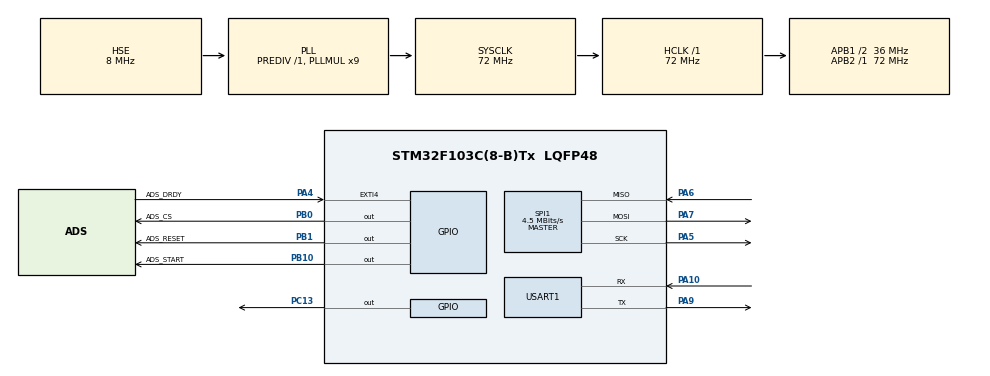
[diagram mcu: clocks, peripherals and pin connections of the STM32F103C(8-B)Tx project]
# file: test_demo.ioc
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Mcu.Family=STM32F1
Mcu.Name=STM32F103C(8-B)Tx
Mcu.Package=LQFP48
NVIC.EXTI4_IRQn=true\:0\:0\:false\:false\:true\:true\:true\:true
NVIC.PriorityGroup=NVIC_PRIORITYGROUP_4
PA10.Mode=Asynchronous
PA10.Signal=USART1_RX
PA13.Mode=Serial_Wire
PA13.Signal=SYS_JTMS-SWDIO
PA14.Mode=Serial_Wire
PA14.Signal=SYS_JTCK-SWCLK
PA4.GPIO_Label=ADS_DRDY
PA4.Signal=GPXTI4
PA5.Mode=Full_Duplex_Master
PA5.Signal=SPI1_SCK
PA6.Mode=Full_Duplex_Master
PA6.Signal=SPI1_MISO
PA7.Mode=Full_Duplex_Master
PA7.Signal=SPI1_MOSI
PA9.Mode=Asynchronous
PA9.Signal=USART1_TX
PB0.GPIO_Label=ADS_CS
PB0.Signal=GPIO_Output
PB1.GPIO_Label=ADS_RESET
PB1.Signal=GPIO_Output
PB10.GPIO_Label=ADS_START
PB10.Signal=GPIO_Output
PC13-TAMPER-RTC.GPIO_PuPd=GPIO_PULLDOWN
PC13-TAMPER-RTC.Signal=GPIO_Output
PD0-OSC_IN.Mode=HSE-External-Oscillator
PD0-OSC_IN.Signal=RCC_OSC_IN
PD1-OSC_OUT.Mode=HSE-External-Oscillator
PD1-OSC_OUT.Signal=RCC_OSC_OUT
ProjectManager.HeapSize=0x200
ProjectManager.StackSize=0x400
ProjectManager.TargetToolchain=MDK-ARM V5.32
RCC.AHBFreq_Value=72000000
RCC.APB1CLKDivider=RCC_HCLK_DIV2
RCC.APB1Freq_Value=36000000
RCC.APB1TimFreq_Value=72000000
RCC.APB2Freq_Value=72000000
RCC.APB2TimFreq_Value=72000000
RCC.HCLKFreq_Value=72000000
RCC.PLLMUL=RCC_PLL_MUL9
RCC.PLLSourceVirtual=RCC_PLLSOURCE_HSE
RCC.SYSCLKFreq_VALUE=72000000
RCC.SYSCLKSource=RCC_SYSCLKSOURCE_PLLCLK
RCC.USBFreq_Value=72000000
SPI1.BaudRatePrescaler=SPI_BAUDRATEPRESCALER_16
SPI1.CLKPhase=SPI_PHASE_2EDGE
SPI1.CalculateBaudRate=4.5 MBits/s
SPI1.Direction=SPI_DIRECTION_2LINES
SPI1.Mode=SPI_MODE_MASTER
SPI1.VirtualType=VM_MASTER
USART1.VirtualMode=VM_ASYNC
board=custom

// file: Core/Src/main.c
/* USER CODE BEGIN Header */
/**
  ******************************************************************************
  * @file           : main.c
  * @brief          : Main program body
  ******************************************************************************
  * @attention
  *
  * Copyright (c) 2026 STMicroelectronics.
  * All rights reserved.
  *
  * This software is licensed under terms that can be found in the LICENSE file
  * in the root directory of this software component.
  * If no LICENSE file comes with this software, it is provided AS-IS.
  *
  ******************************************************************************
  */
/* USER CODE END Header */
#include "main.h"
#include "spi.h"
#include "usart.h"
#include "gpio.h"

/* USER CODE BEGIN Includes */
#include "ads1292r.h"
#include <stdio.h>
/* USER CODE END Includes */

/* USER CODE BEGIN PV */
uint8_t ads1292r_id = 0U;
ADS1292R_Handle ads;
ADS1292R_Frame ads_frame;
uint32_t sample_index = 0U;
uint32_t frame_error_count = 0U;
uint32_t reported_error_count = 0U;
uint32_t last_bad_status = 0U;
uint32_t last_diag_tick = 0U;
uint8_t ads_ready = 0U;
uint8_t ads_drdy_armed = 1U;
char uart_line[64];
/* USER CODE END PV */

void SystemClock_Config(void);

int main(void)
{

  /* MCU Configuration--------------------------------------------------------*/

  /* Reset of all peripherals, Initializes the Flash interface and the Systick. */
  HAL_Init();

  /* Configure the system clock */
  SystemClock_Config();

  /* Initialize all configured peripherals */
  MX_GPIO_Init();
  MX_USART1_UART_Init();
  MX_SPI1_Init();
  /* USER CODE BEGIN 2 */

  /* A reset of the STM32 does not power-cycle the ADS1292R.  Force the
     ADS1292R PWDN/RESET pin through a complete reset sequence so that a
     push-button reset starts from the same state as a power-on reset. */
  HAL_Delay(500);                                      /* wait for battery/USB rails */
  HAL_GPIO_WritePin(GPIOB, GPIO_PIN_10, GPIO_PIN_RESET); /* START low */
  HAL_GPIO_WritePin(GPIOB, GPIO_PIN_0, GPIO_PIN_SET);    /* CS inactive */
  HAL_GPIO_WritePin(GPIOB, GPIO_PIN_1, GPIO_PIN_RESET);  /* PWDN/RESET low */
  HAL_Delay(20);
  HAL_GPIO_WritePin(GPIOB, GPIO_PIN_1, GPIO_PIN_SET);    /* wake/reset ADS */
  HAL_Delay(500);
  uint8_t regs[5] = {0U};
  int n = 0;

  ads_ready = 0U;

  ADS1292R_Attach(
      &ads,
      &hspi1,
      ADS_CS_GPIO_Port, ADS_CS_Pin,
      ADS_RESET_GPIO_Port, ADS_RESET_Pin,
      ADS_START_GPIO_Port, ADS_START_Pin
  );

  if (ADS1292R_Begin(
          &ads,
          ADS1292R_MODE_ECG,
          &ads1292r_id
      ) == HAL_OK)
  {
    n = snprintf(
        uart_line,
        sizeof(uart_line),
        "ADS1292R ID=0x%02X OK\r\n",
        ads1292r_id
    );
    HAL_UART_Transmit(&huart1, (uint8_t *)uart_line, n, 100U);

    if (ADS1292R_ReadRegisters(
            &ads,
            ADS1292R_REG_CONFIG1,
            regs,
            5U
        ) == HAL_OK)
    {
      n = snprintf(
          uart_line,
          sizeof(uart_line),
          "REG=%02X,%02X,%02X,%02X,%02X\r\n",
          regs[0], regs[1], regs[2], regs[3], regs[4]
      );
      HAL_UART_Transmit(&huart1, (uint8_t *)uart_line, n, 100U);

      if ((regs[0] == 0x01U) &&
          (regs[1] == 0xA0U) &&
          (regs[3] == 0x00U) &&
          (regs[4] == 0x00U) &&
          (ADS1292R_Start(&ads) == HAL_OK))
      {
        ads_ready = 1U;
        HAL_UART_Transmit(
            &huart1,
            (uint8_t *)"ADS START OK\r\n",
            14U,
            100U
        );
      }
      else
      {
        HAL_UART_Transmit(
            &huart1,
            (uint8_t *)"ADS CONFIG/START FAILED\r\n",
            25U,
            100U
        );
      }
    }
    else
    {
      HAL_UART_Transmit(
          &huart1,
          (uint8_t *)"ADS REG READ FAILED\r\n",
          21U,
          100U
      );
    }
  }
  else
  {
    n = snprintf(
        uart_line,
        sizeof(uart_line),
        "ADS1292R init failed, ID=0x%02X\r\n",
        ads1292r_id
    );
    HAL_UART_Transmit(&huart1, (uint8_t *)uart_line, n, 100U);
  }

  /* USER CODE END 2 */

  /* Infinite loop */
  /* USER CODE BEGIN WHILE */
  while (1)
  {
    if (ads_ready == 0U)
    {
      HAL_Delay(100U);
    }
    else if (HAL_GPIO_ReadPin(GPIOA, GPIO_PIN_4) == GPIO_PIN_SET)
    {
      /* A new falling edge may be accepted only after DRDY returned high. */
      ads_drdy_armed = 1U;
    }
    else if (ads_drdy_armed != 0U)
    {
      ads_drdy_armed = 0U;

      if (ADS1292R_ReadFrame(&ads, &ads_frame) == HAL_OK)
      {
        if ((ads_frame.status & 0xF00000UL) == 0xC00000UL)
        {
          uint32_t current_sample = sample_index++;

          /* Read every 250-Hz sample, transmit one channel at 125 lines/s. */
          if ((current_sample % 2U) == 0U)
          {
            n = snprintf(
                uart_line,
                sizeof(uart_line),
                "%lu,%ld\r\n",
                (unsigned long)current_sample,
                (long)ads_frame.channel2
            );
            HAL_UART_Transmit(
                &huart1,
                (uint8_t *)uart_line,
                n,
                20U
            );
          }

          if ((current_sample % 125U) == 0U)
          {
            HAL_GPIO_TogglePin(GPIOC, GPIO_PIN_13);
          }
        }
        else
        {
          ++frame_error_count;
          last_bad_status = ads_frame.status;
        }
      }
      else
      {
        ads_ready = 0U;
        HAL_UART_Transmit(
            &huart1,
            (uint8_t *)"ADS SPI READ ERROR\r\n",
            20U,
            100U
        );
      }
    }

    /* Never print a message for every bad frame: that much blocking UART
       traffic can consume a complete 4-ms sample interval.  Report only
       once per second and only when the cumulative count has changed. */
    if ((HAL_GetTick() - last_diag_tick) >= 1000U)
    {
      last_diag_tick = HAL_GetTick();
      if (frame_error_count != reported_error_count)
      {
        reported_error_count = frame_error_count;
        n = snprintf(
            uart_line,
            sizeof(uart_line),
            "ADS ERRORS=%lu LAST=%06lX\r\n",
            (unsigned long)frame_error_count,
            (unsigned long)(last_bad_status & 0xFFFFFFUL)
        );
        HAL_UART_Transmit(
            &huart1,
            (uint8_t *)uart_line,
            n,
            20U
        );
      }
    }
    /* USER CODE END WHILE */

  }

}

void SystemClock_Config(void)
{
  RCC_OscInitTypeDef RCC_OscInitStruct = {0};
  RCC_ClkInitTypeDef RCC_ClkInitStruct = {0};

  /** Initializes the RCC Oscillators according to the specified parameters
  * in the RCC_OscInitTypeDef structure.
  */
  RCC_OscInitStruct.OscillatorType = RCC_OSCILLATORTYPE_HSE;
  RCC_OscInitStruct.HSEState = RCC_HSE_ON;
  RCC_OscInitStruct.HSEPredivValue = RCC_HSE_PREDIV_DIV1;
  RCC_OscInitStruct.HSIState = RCC_HSI_ON;
  RCC_OscInitStruct.PLL.PLLState = RCC_PLL_ON;
  RCC_OscInitStruct.PLL.PLLSource = RCC_PLLSOURCE_HSE;
  RCC_OscInitStruct.PLL.PLLMUL = RCC_PLL_MUL9;
  if (HAL_RCC_OscConfig(&RCC_OscInitStruct) != HAL_OK)
  {
    Error_Handler();
  }

  /** Initializes the CPU, AHB and APB buses clocks
  */
  RCC_ClkInitStruct.ClockType = RCC_CLOCKTYPE_HCLK|RCC_CLOCKTYPE_SYSCLK
                              |RCC_CLOCKTYPE_PCLK1|RCC_CLOCKTYPE_PCLK2;
  RCC_ClkInitStruct.SYSCLKSource = RCC_SYSCLKSOURCE_PLLCLK;
  RCC_ClkInitStruct.AHBCLKDivider = RCC_SYSCLK_DIV1;
  RCC_ClkInitStruct.APB1CLKDivider = RCC_HCLK_DIV2;
  RCC_ClkInitStruct.APB2CLKDivider = RCC_HCLK_DIV1;

  if (HAL_RCC_ClockConfig(&RCC_ClkInitStruct, FLASH_LATENCY_2) != HAL_OK)
  {
    Error_Handler();
  }
}

void Error_Handler(void)
{
  __disable_irq();
  while (1)
  {
  }
}
